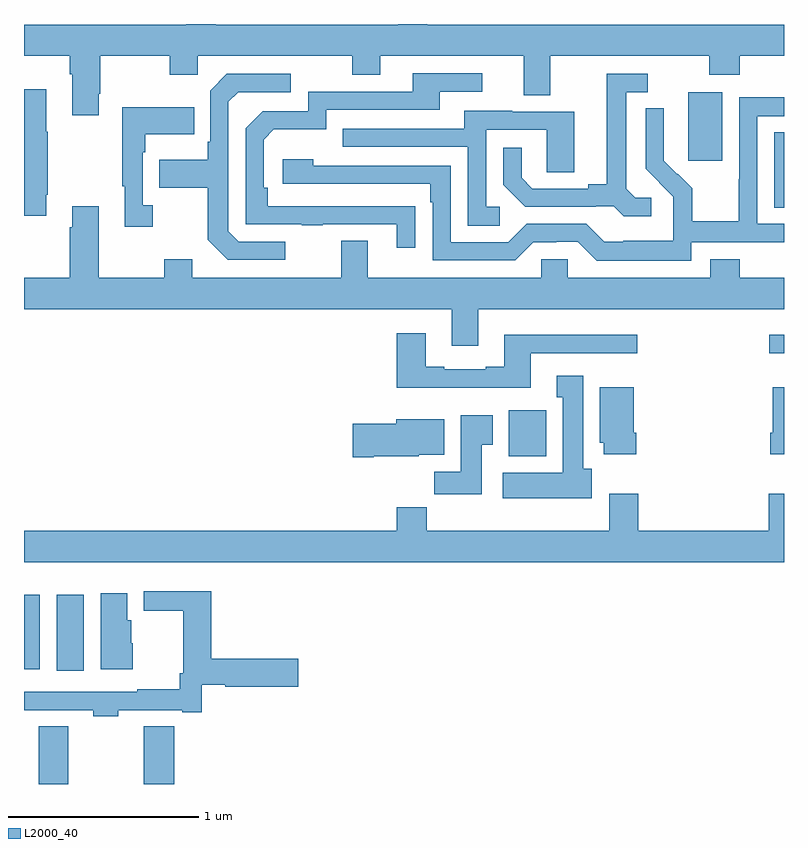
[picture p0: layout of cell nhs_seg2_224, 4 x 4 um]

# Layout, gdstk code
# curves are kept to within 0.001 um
import gdstk
lib = gdstk.Library(unit=1e-6, precision=1e-09)
def R(c, l, rs):  # rectangles x0, y0, x1, y1
    for r in rs: c.add(gdstk.rectangle(r[:2], r[2:], *l))
def P(c, l, *ps):  # polygons
    for p in ps: c.add(gdstk.Polygon(p, *l))
L2000_40 = (2000, 40)

nhs_seg2_224 = lib.new_cell('nhs_seg2_224')
R(nhs_seg2_224, L2000_40, [(121.078,647.8,121.232,648.104), (121.63,647.8,121.79,648.104), (121.172,648.396,121.315,648.796), (121,648.404,121.084,648.796), (123.551,649.526,123.748,649.768), (124.923,650.067,125,650.164), (124.949,650.833,125,651.23), (124.496,651.081,124.675,651.442)])
P(nhs_seg2_224, L2000_40, [(121.393,651.433),(121.401,651.433),(121.401,651.632),(121.768,651.632),(121.768,651.533),(121.914,651.533),(121.914,651.632),(122.728,651.632),(122.728,651.533),(122.875,651.533),(122.875,651.632),(123.629,651.632),(123.629,651.424),(123.769,651.424),(123.769,651.632),(124.606,651.632),(124.606,651.533),(124.766,651.533),(124.766,651.632),(125,651.632),(125,651.796),(123.122,651.796),(123.122,651.8),(122.969,651.8),(122.969,651.796),(122.009,651.796),(122.009,651.8),(121.853,651.8),(121.853,651.796),(121,651.796),(121,651.632),(121.241,651.632),(121.241,651.536),(121.253,651.536),(121.253,651.321),(121.393,651.321)],
  [(123.059,650.84),(122.282,650.841),(122.282,650.938),(122.262,650.938),(122.262,651.192),(122.315,651.245),(122.592,651.245),(122.592,651.348),(123.187,651.348),(123.187,651.444),(123.412,651.444),(123.412,651.54),(123.047,651.54),(123.047,651.444),(122.496,651.444),(122.496,651.342),(122.256,651.342),(122.166,651.252),(122.166,650.745),(122.461,650.745),(122.461,650.74),(122.573,650.74),(122.573,650.745),(122.963,650.745),(122.963,650.622),(123.059,650.622)],
  [(124.3,650.886),(124.218,650.886),(124.171,650.933),(124.171,651.441),(124.282,651.441),(124.282,651.537),(124.067,651.537),(124.067,650.957),(123.971,650.957),(123.971,650.934),(123.676,650.934),(123.619,650.991),(123.619,651.148),(123.522,651.148),(123.522,650.954),(123.638,650.838),(124.01,650.838),(124.01,650.841),(124.104,650.841),(124.156,650.789),(124.3,650.789)],
  [(122.374,650.655),(122.13,650.655),(122.076,650.709),(122.076,651.39),(122.127,651.441),(122.404,651.441),(122.404,651.537),(122.067,651.537),(121.98,651.45),(121.98,651.181),(121.968,651.181),(121.968,651.085),(121.711,651.085),(121.711,650.938),(121.968,650.938),(121.968,650.665),(122.073,650.559),(122.374,650.559)],
  [(121.117,650.902),(121.125,650.902),(121.125,651.233),(121.117,651.233),(121.117,651.457),(121,651.457),(121,650.79),(121.117,650.79)],
  [(124.512,650.652),(125,650.652),(125,650.748),(124.86,650.748),(124.86,651.315),(125,651.315),(125,651.414),(124.764,651.414),(124.764,650.984),(124.762,650.984),(124.762,650.761),(124.517,650.761),(124.517,650.935),(124.44,651.012),(124.437,651.009),(124.367,651.08),(124.368,651.356),(124.272,651.356),(124.272,651.038),(124.418,650.89),(124.418,650.793),(124.416,650.793),(124.416,650.659),(124.153,650.659),(124.153,650.655),(124.053,650.655),(123.96,650.748),(123.645,650.748),(123.549,650.652),(123.246,650.652),(123.246,651.054),(122.522,651.054),(122.522,651.088),(122.361,651.088),(122.361,650.958),(123.137,650.958),(123.137,650.861),(123.15,650.861),(123.15,650.556),(123.585,650.556),(123.681,650.652),(123.8,650.652),(123.8,650.655),(123.915,650.655),(124.015,650.555),(124.512,650.555)],
  [(121.678,650.846),(121.626,650.846),(121.626,651.125),(121.639,651.125),(121.639,651.221),(121.895,651.221),(121.895,651.361),(121.518,651.361),(121.518,650.945),(121.529,650.945),(121.529,650.733),(121.678,650.733)],
  [(123.505,650.838),(123.432,650.838),(123.432,651.243),(123.75,651.243),(123.75,651.019),(123.895,651.019),(123.895,651.339),(123.571,651.339),(123.571,651.343),(123.317,651.343),(123.317,651.249),(122.677,651.249),(122.677,651.153),(123.336,651.153),(123.336,650.737),(123.505,650.737)],
  [(123.391,650.3),(125,650.3),(125,650.464),(124.766,650.464),(124.766,650.563),(124.613,650.563),(124.613,650.464),(123.861,650.464),(123.861,650.562),(123.723,650.562),(123.723,650.464),(122.809,650.464),(122.809,650.659),(122.669,650.659),(122.669,650.464),(121.885,650.464),(121.885,650.563),(121.738,650.563),(121.738,650.464),(121.393,650.464),(121.393,650.842),(121.253,650.842),(121.253,650.729),(121.241,650.729),(121.241,650.464),(121,650.464),(121,650.3),(123.251,650.3),(123.251,650.106),(123.391,650.106)],
  [(123.667,650.067),(124.228,650.067),(124.228,650.164),(123.527,650.164),(123.527,649.996),(123.431,649.996),(123.431,649.983),(123.211,649.983),(123.211,649.996),(123.115,649.996),(123.115,650.173),(122.963,650.173),(122.963,649.886),(123.667,649.886)],
  [(123.988,649.458),(123.943,649.458),(123.943,649.948),(123.803,649.948),(123.803,649.835),(123.836,649.835),(123.836,649.438),(123.519,649.438),(123.519,649.304),(123.988,649.304)],
  [(125,649.888),(124.94,649.888),(124.94,649.648),(124.928,649.648),(124.928,649.536),(125,649.536)],
  [(124.223,649.648),(124.21,649.648),(124.21,649.888),(124.031,649.888),(124.031,649.596),(124.052,649.596),(124.052,649.536),(124.223,649.536)],
  [(123.409,649.585),(123.466,649.585),(123.466,649.741),(123.299,649.741),(123.299,649.444),(123.16,649.444),(123.16,649.326),(123.409,649.326)],
  [(122.842,649.526),(123.078,649.526),(123.078,649.532),(123.211,649.532),(123.211,649.72),(122.96,649.72),(122.96,649.697),(122.73,649.697),(122.73,649.519),(122.842,649.519)],
  [(125,649.327),(124.919,649.327),(124.919,649.132),(124.232,649.132),(124.232,649.327),(124.079,649.327),(124.079,649.132),(123.119,649.132),(123.119,649.256),(122.963,649.256),(122.963,649.132),(121,649.132),(121,648.968),(125,648.968)],
  [(121.497,648.189),(121.832,648.189),(121.832,648.177),(121.935,648.177),(121.935,648.323),(122.058,648.323),(122.058,648.311),(122.443,648.311),(122.443,648.458),(121.985,648.458),(121.985,648.814),(121.629,648.814),(121.629,648.712),(121.838,648.712),(121.838,648.382),(121.819,648.382),(121.819,648.298),(121.597,648.298),(121.597,648.285),(121,648.285),(121,648.189),(121.365,648.189),(121.365,648.157),(121.497,648.157)],
  [(121.573,648.54),(121.564,648.54),(121.564,648.663),(121.543,648.663),(121.543,648.805),(121.403,648.805),(121.403,648.404),(121.573,648.404)])

lib.write_gds('nhs_seg2_224.gds')
